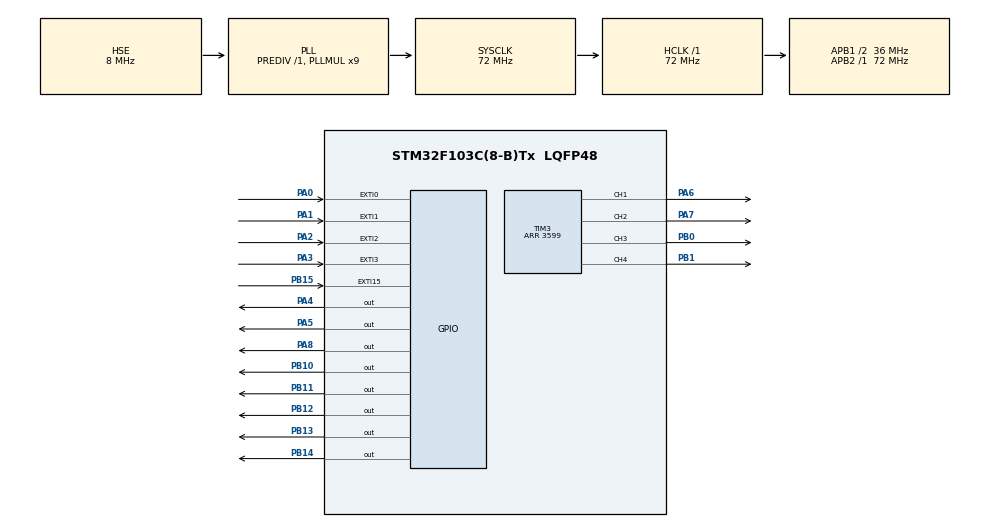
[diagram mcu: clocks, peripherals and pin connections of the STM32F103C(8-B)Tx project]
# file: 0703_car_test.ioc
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Mcu.Family=STM32F1
Mcu.Name=STM32F103C(8-B)Tx
Mcu.Package=LQFP48
NVIC.EXTI0_IRQn=true\:0\:0\:false\:false\:true\:true\:true\:true
NVIC.EXTI1_IRQn=true\:0\:0\:false\:false\:true\:true\:true\:true
NVIC.EXTI2_IRQn=true\:0\:0\:false\:false\:true\:true\:true\:true
NVIC.EXTI3_IRQn=true\:0\:0\:false\:false\:true\:true\:true\:true
NVIC.PriorityGroup=NVIC_PRIORITYGROUP_4
PA0-WKUP.GPIO_ModeDefaultEXTI=GPIO_MODE_IT_RISING_FALLING
PA0-WKUP.Signal=GPXTI0
PA1.GPIO_ModeDefaultEXTI=GPIO_MODE_IT_RISING_FALLING
PA1.Signal=GPXTI1
PA13.Mode=Serial_Wire
PA13.Signal=SYS_JTMS-SWDIO
PA14.Mode=Serial_Wire
PA14.Signal=SYS_JTCK-SWCLK
PA2.GPIO_ModeDefaultEXTI=GPIO_MODE_IT_RISING_FALLING
PA2.Signal=GPXTI2
PA3.GPIO_ModeDefaultEXTI=GPIO_MODE_IT_RISING_FALLING
PA3.Signal=GPXTI3
PA4.Signal=GPIO_Output
PA5.Signal=GPIO_Output
PA6.Signal=S_TIM3_CH1
PA7.Signal=S_TIM3_CH2
PA8.Signal=GPIO_Output
PB0.Signal=S_TIM3_CH3
PB1.Signal=S_TIM3_CH4
PB10.Signal=GPIO_Output
PB11.Signal=GPIO_Output
PB12.Signal=GPIO_Output
PB13.Signal=GPIO_Output
PB14.Signal=GPIO_Output
PB15.Signal=GPXTI15
PD0-OSC_IN.Mode=HSE-External-Oscillator
PD0-OSC_IN.Signal=RCC_OSC_IN
PD1-OSC_OUT.Mode=HSE-External-Oscillator
PD1-OSC_OUT.Signal=RCC_OSC_OUT
ProjectManager.HeapSize=0x200
ProjectManager.StackSize=0x400
ProjectManager.TargetToolchain=STM32CubeIDE
RCC.AHBFreq_Value=72000000
RCC.APB1CLKDivider=RCC_HCLK_DIV2
RCC.APB1Freq_Value=36000000
RCC.APB1TimFreq_Value=72000000
RCC.APB2Freq_Value=72000000
RCC.APB2TimFreq_Value=72000000
RCC.HCLKFreq_Value=72000000
RCC.PLLMUL=RCC_PLL_MUL9
RCC.PLLSourceVirtual=RCC_PLLSOURCE_HSE
RCC.SYSCLKFreq_VALUE=72000000
RCC.SYSCLKSource=RCC_SYSCLKSOURCE_PLLCLK
RCC.USBFreq_Value=72000000
SH.S_TIM3_CH1.0=TIM3_CH1,PWM Generation1 CH1
SH.S_TIM3_CH2.0=TIM3_CH2,PWM Generation2 CH2
SH.S_TIM3_CH3.0=TIM3_CH3,PWM Generation3 CH3
SH.S_TIM3_CH4.0=TIM3_CH4,PWM Generation4 CH4
TIM2.Prescaler=71
TIM3.Channel-PWM\ Generation1\ CH1=TIM_CHANNEL_1
TIM3.Channel-PWM\ Generation2\ CH2=TIM_CHANNEL_2
TIM3.Channel-PWM\ Generation3\ CH3=TIM_CHANNEL_3
TIM3.Channel-PWM\ Generation4\ CH4=TIM_CHANNEL_4
TIM3.Period=3599
VP_TIM2_VS_ClockSourceINT.Mode=Internal
board=custom

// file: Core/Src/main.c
/* USER CODE BEGIN Header */
/**
  ******************************************************************************
  * @file           : main.c
  * @brief          : Main program body
  ******************************************************************************
  * @attention
  *
  * Copyright (c) 2026 STMicroelectronics.
  * All rights reserved.
  *
  * This software is licensed under terms that can be found in the LICENSE file
  * in the root directory of this software component.
  * If no LICENSE file comes with this software, it is provided AS-IS.
  *
  ******************************************************************************
  */
/* USER CODE END Header */
#include "main.h"

/* USER CODE BEGIN Includes */
#include <stdint.h>
/* USER CODE END Includes */

TIM_HandleTypeDef htim2;
TIM_HandleTypeDef htim3;

/* USER CODE BEGIN PV */

#define PWM_MAX 3599

//遥控器相关参数
#define RC_CH_COUNT 4 //遥控器通道数量
#define RC_MID_US 1500 //居中时遥控器输出的PWM信号的高电平宽度，单位us
#define RC_RANGE_US 500 //1500+-500是正常的范围
#define RC_MIN_VALID_US 900
#define RC_MAX_VALID_US 2100 //<900或者>2100的高电平信号视为噪声
#define RC_FAILSAFE_MS 120  //超过120ms没有收到有效遥控信号则停车；这叫作failsafe

// 默认：CH1 转向，CH2 油门
// 如果你用 CH3 当油门，把 THROTTLE_CH 改成 2
#define STEERING_CH 0
#define THROTTLE_CH 1

#define DEADBAND 0.06f // <6%的摇杆偏移视作0
#define EXPO_A 0.45f
#define MAX_SPEED 0.99f //调节最大速度（1.0为最大速度）
#define SLEW_STEP 0.015f //变化率限制，速度每一轮循环最多变化多少，避免电机极大的加速度
#define MIN_EFFECTIVE_CMD 0.12f //最小的有效占空比（占空比太小有可能推不动电机）

// region 不同接线下的方向调试
#define THROTTLE_REVERSE 0
#define STEERING_REVERSE 0

#define FL_REVERSE 1
#define RL_REVERSE 0
#define FR_REVERSE 0
#define RR_REVERSE 0
//endregion

//rc_us: 保存四个遥控通道的脉宽
//注意volatile的使用，此变量可能在主循环之外被修改，例如在中断函数修改，因此需要告诉编译器不要对这个变量进行优化
//对于rc_us: 会在EXT1中断回调里更新，主循环中只作读取
volatile uint16_t rc_us[RC_CH_COUNT] = {
  RC_MID_US, RC_MID_US, RC_MID_US, RC_MID_US
};

//记录每一个通道上升沿的时间
volatile uint16_t rc_start[RC_CH_COUNT] = {0, 0, 0, 0};
//记录每一个通道最后一次收到有效信号的时间，用于failsafe
volatile uint32_t rc_last_ms[RC_CH_COUNT] = {0, 0, 0, 0};

//debug
volatile uint32_t rc_edge_count[RC_CH_COUNT] = {0,0,0,0}; //查看终端出发的数量
volatile uint16_t rc_raw_width[RC_CH_COUNT] = {0,0,0,0}; //查看测出来的原始脉宽是多少

//static关键字：其他文件不能通过extern访问
static float left_now = 0.0f; //当前左轮的速度
static float right_now = 0.0f;

/* USER CODE END PV */

void SystemClock_Config(void);
static void MX_GPIO_Init(void);
static void MX_TIM2_Init(void);
static void MX_TIM3_Init(void);
/* USER CODE BEGIN PFP */

//数学处理部分
static float abs_f(float x);
static float clamp_f(float x, float min_v, float max_v);
//遥控器输入处理
static float rc_to_norm(uint16_t pulse_us);
static float apply_deadband(float x);
static float apply_expo(float x);
static float apply_reverse(float x, int reverse);
static float slew_limit(float target, float current, float step);
//电机输出控制
static void motor_set(float cmd,
                      GPIO_TypeDef *in1_port, uint16_t in1_pin,
                      GPIO_TypeDef *in2_port, uint16_t in2_pin,
                      uint32_t pwm_channel,
                      int reverse);

static void motors_set(float left, float right);
static void motors_stop(void);
//遥控器中断测量
static void rc_update_from_exti(uint8_t ch_index,
                                GPIO_TypeDef *port,
                                uint16_t pin);

/* USER CODE END PFP */

int main(void)
{

  /* MCU Configuration--------------------------------------------------------*/

  /* Reset of all peripherals, Initializes the Flash interface and the Systick. */
  HAL_Init(); //HAL：Hardware Abstraction Layer,硬件抽象层

  /* Configure the system clock */
  SystemClock_Config(); //配置系统时钟

  /* Initialize all configured peripherals */
  MX_GPIO_Init(); //初始化GPIO，把在.ioc中设置的各个GPIO设置好为对应的
  MX_TIM2_Init();
  MX_TIM3_Init();
  /* USER CODE BEGIN 2 */

  HAL_TIM_Base_Start(&htim2); //启动TIM2的基础计数功能，TIM2开始按照指定的频率递增CNT寄存器

  //让TIM3开始输出PWM信号（占空比用的是在ioc中设置的初始值(Pulse)）
  HAL_TIM_PWM_Start(&htim3, TIM_CHANNEL_1);
  HAL_TIM_PWM_Start(&htim3, TIM_CHANNEL_2);
  HAL_TIM_PWM_Start(&htim3, TIM_CHANNEL_3);
  HAL_TIM_PWM_Start(&htim3, TIM_CHANNEL_4);

  // 两个 TB6612FNG 的 STBY 都接 PA8
  HAL_GPIO_WritePin(GPIOA, GPIO_PIN_8, GPIO_PIN_SET);

  motors_stop();

  /* USER CODE END 2 */

  /* Infinite loop */
  /* USER CODE BEGIN WHILE */
  while (1)
  {
    uint16_t throttle_us, steering_us;
    uint32_t throttle_last, steering_last;
    uint32_t now_ms = HAL_GetTick();  //得到当前时间；HAL_GetTick()的返回值，表示初始化完成以来，经过了多少毫秒

    //因为rc_us和rc_last_ms在中断时更新，为了避免主循环在读取时被中断打断，先关闭中断再读取这些数据
    __disable_irq(); //关闭中断
    throttle_us = rc_us[THROTTLE_CH];
    steering_us = rc_us[STEERING_CH];
    throttle_last = rc_last_ms[THROTTLE_CH];
    steering_last = rc_last_ms[STEERING_CH];
    __enable_irq(); //打开中断

    //失控保护
    if ((now_ms - throttle_last > RC_FAILSAFE_MS) ||
        (now_ms - steering_last > RC_FAILSAFE_MS))
    {
    	//一旦一段时间内没有收到遥控器的信号，则停车，但不退出主循环
      left_now = 0.0f;
      right_now = 0.0f;
      motors_stop();
      HAL_Delay(10);
      continue;
    }

    //遥控器脉冲宽度的处理
    float throttle = rc_to_norm(throttle_us);
    float steering = rc_to_norm(steering_us);

    throttle = apply_reverse(throttle, THROTTLE_REVERSE);
    steering = apply_reverse(steering, STEERING_REVERSE);

    throttle = apply_deadband(throttle);
    steering = apply_deadband(steering);

    throttle = apply_expo(throttle);
    steering = apply_expo(steering);

    float left_target = throttle + steering;
    float right_target = throttle - steering;

    //将left/right_target限制在-1~1内
    float max_mag = abs_f(left_target);
    if (abs_f(right_target) > max_mag)
    {
      max_mag = abs_f(right_target);
    }

    if (max_mag < 1.0f)
    {
      max_mag = 1.0f;
    }

    left_target /= max_mag;
    right_target /= max_mag;

    left_target *= MAX_SPEED;
    right_target *= MAX_SPEED;

    //限制速度的变化率
    left_now = slew_limit(left_target, left_now, SLEW_STEP);
    right_now = slew_limit(right_target, right_now, SLEW_STEP);

    //将信号输出到电机
    motors_set(left_now, right_now);

    //每轮结束后阻塞10ms
    HAL_Delay(10);
  }
  /* USER CODE END 3 */
}

void SystemClock_Config(void)
{
  RCC_OscInitTypeDef RCC_OscInitStruct = {0};
  RCC_ClkInitTypeDef RCC_ClkInitStruct = {0};

  /** Initializes the RCC Oscillators according to the specified parameters
  * in the RCC_OscInitTypeDef structure.
  */
  RCC_OscInitStruct.OscillatorType = RCC_OSCILLATORTYPE_HSE;
  RCC_OscInitStruct.HSEState = RCC_HSE_ON;
  RCC_OscInitStruct.HSEPredivValue = RCC_HSE_PREDIV_DIV1;
  RCC_OscInitStruct.HSIState = RCC_HSI_ON;
  RCC_OscInitStruct.PLL.PLLState = RCC_PLL_ON;
  RCC_OscInitStruct.PLL.PLLSource = RCC_PLLSOURCE_HSE;
  RCC_OscInitStruct.PLL.PLLMUL = RCC_PLL_MUL9;
  if (HAL_RCC_OscConfig(&RCC_OscInitStruct) != HAL_OK)
  {
    Error_Handler();
  }

  /** Initializes the CPU, AHB and APB buses clocks
  */
  RCC_ClkInitStruct.ClockType = RCC_CLOCKTYPE_HCLK|RCC_CLOCKTYPE_SYSCLK
                              |RCC_CLOCKTYPE_PCLK1|RCC_CLOCKTYPE_PCLK2;
  RCC_ClkInitStruct.SYSCLKSource = RCC_SYSCLKSOURCE_PLLCLK;
  RCC_ClkInitStruct.AHBCLKDivider = RCC_SYSCLK_DIV1;
  RCC_ClkInitStruct.APB1CLKDivider = RCC_HCLK_DIV2;
  RCC_ClkInitStruct.APB2CLKDivider = RCC_HCLK_DIV1;

  if (HAL_RCC_ClockConfig(&RCC_ClkInitStruct, FLASH_LATENCY_2) != HAL_OK)
  {
    Error_Handler();
  }
}

static void MX_TIM2_Init(void)
{

  TIM_ClockConfigTypeDef sClockSourceConfig = {0};
  TIM_MasterConfigTypeDef sMasterConfig = {0};

  htim2.Instance = TIM2;
  htim2.Init.Prescaler = 71;
  htim2.Init.CounterMode = TIM_COUNTERMODE_UP;
  htim2.Init.Period = 65535;
  htim2.Init.ClockDivision = TIM_CLOCKDIVISION_DIV1;
  htim2.Init.AutoReloadPreload = TIM_AUTORELOAD_PRELOAD_DISABLE;
  if (HAL_TIM_Base_Init(&htim2) != HAL_OK)
  {
    Error_Handler();
  }
  sClockSourceConfig.ClockSource = TIM_CLOCKSOURCE_INTERNAL;
  if (HAL_TIM_ConfigClockSource(&htim2, &sClockSourceConfig) != HAL_OK)
  {
    Error_Handler();
  }
  sMasterConfig.MasterOutputTrigger = TIM_TRGO_RESET;
  sMasterConfig.MasterSlaveMode = TIM_MASTERSLAVEMODE_DISABLE;
  if (HAL_TIMEx_MasterConfigSynchronization(&htim2, &sMasterConfig) != HAL_OK)
  {
    Error_Handler();
  }

}

static void MX_TIM3_Init(void)
{

  TIM_MasterConfigTypeDef sMasterConfig = {0};
  TIM_OC_InitTypeDef sConfigOC = {0};

  htim3.Instance = TIM3;
  htim3.Init.Prescaler = 0;
  htim3.Init.CounterMode = TIM_COUNTERMODE_UP;
  htim3.Init.Period = 3599;
  htim3.Init.ClockDivision = TIM_CLOCKDIVISION_DIV1;
  htim3.Init.AutoReloadPreload = TIM_AUTORELOAD_PRELOAD_DISABLE;
  if (HAL_TIM_PWM_Init(&htim3) != HAL_OK)
  {
    Error_Handler();
  }
  sMasterConfig.MasterOutputTrigger = TIM_TRGO_RESET;
  sMasterConfig.MasterSlaveMode = TIM_MASTERSLAVEMODE_DISABLE;
  if (HAL_TIMEx_MasterConfigSynchronization(&htim3, &sMasterConfig) != HAL_OK)
  {
    Error_Handler();
  }
  sConfigOC.OCMode = TIM_OCMODE_PWM1;
  sConfigOC.Pulse = 0;
  sConfigOC.OCPolarity = TIM_OCPOLARITY_HIGH;
  sConfigOC.OCFastMode = TIM_OCFAST_DISABLE;
  if (HAL_TIM_PWM_ConfigChannel(&htim3, &sConfigOC, TIM_CHANNEL_1) != HAL_OK)
  {
    Error_Handler();
  }
  if (HAL_TIM_PWM_ConfigChannel(&htim3, &sConfigOC, TIM_CHANNEL_2) != HAL_OK)
  {
    Error_Handler();
  }
  if (HAL_TIM_PWM_ConfigChannel(&htim3, &sConfigOC, TIM_CHANNEL_3) != HAL_OK)
  {
    Error_Handler();
  }
  if (HAL_TIM_PWM_ConfigChannel(&htim3, &sConfigOC, TIM_CHANNEL_4) != HAL_OK)
  {
    Error_Handler();
  }
  HAL_TIM_MspPostInit(&htim3);

}

static void MX_GPIO_Init(void)
{
  GPIO_InitTypeDef GPIO_InitStruct = {0};

  /* GPIO Ports Clock Enable */
  __HAL_RCC_GPIOD_CLK_ENABLE();
  __HAL_RCC_GPIOA_CLK_ENABLE();
  __HAL_RCC_GPIOB_CLK_ENABLE();

  /*Configure GPIO pin Output Level */
  HAL_GPIO_WritePin(GPIOA, GPIO_PIN_4|GPIO_PIN_5|GPIO_PIN_8, GPIO_PIN_RESET);

  /*Configure GPIO pin Output Level */
  HAL_GPIO_WritePin(GPIOB, GPIO_PIN_10|GPIO_PIN_11|GPIO_PIN_12|GPIO_PIN_13
                          |GPIO_PIN_14|GPIO_PIN_15, GPIO_PIN_RESET);

  //遥控器的输入
  /*Configure GPIO pins : PA0 PA1 PA2 PA3 */
  GPIO_InitStruct.Pin = GPIO_PIN_0|GPIO_PIN_1|GPIO_PIN_2|GPIO_PIN_3;
  GPIO_InitStruct.Mode = GPIO_MODE_IT_RISING_FALLING; //外部中断输入；并且时上升沿和下降沿都会触发
  GPIO_InitStruct.Pull = GPIO_NOPULL;
  HAL_GPIO_Init(GPIOA, &GPIO_InitStruct);

  /*Configure GPIO pins : PA4 PA5 PA8 */
  GPIO_InitStruct.Pin = GPIO_PIN_4|GPIO_PIN_5|GPIO_PIN_8;
  GPIO_InitStruct.Mode = GPIO_MODE_OUTPUT_PP; //推挽输出
  GPIO_InitStruct.Pull = GPIO_NOPULL;
  GPIO_InitStruct.Speed = GPIO_SPEED_FREQ_LOW;
  HAL_GPIO_Init(GPIOA, &GPIO_InitStruct);

  /*Configure GPIO pins : PB10 PB11 PB12 PB13
                           PB14 PB15*/
  GPIO_InitStruct.Pin = GPIO_PIN_10|GPIO_PIN_11|GPIO_PIN_12|GPIO_PIN_13
                          |GPIO_PIN_14|GPIO_PIN_15;
  GPIO_InitStruct.Mode = GPIO_MODE_OUTPUT_PP;
  GPIO_InitStruct.Pull = GPIO_NOPULL;
  GPIO_InitStruct.Speed = GPIO_SPEED_FREQ_LOW;
  HAL_GPIO_Init(GPIOB, &GPIO_InitStruct);

  /* EXTI interrupt init*/
  HAL_NVIC_SetPriority(EXTI0_IRQn, 0, 0);
  HAL_NVIC_EnableIRQ(EXTI0_IRQn);

  HAL_NVIC_SetPriority(EXTI1_IRQn, 0, 0);
  HAL_NVIC_EnableIRQ(EXTI1_IRQn);

  HAL_NVIC_SetPriority(EXTI2_IRQn, 0, 0);
  HAL_NVIC_EnableIRQ(EXTI2_IRQn);

  HAL_NVIC_SetPriority(EXTI3_IRQn, 0, 0);
  HAL_NVIC_EnableIRQ(EXTI3_IRQn);

}

/* USER CODE BEGIN 4 */

static float abs_f(float x)
{
  return x >= 0.0f ? x : -x;
}

static float clamp_f(float x, float min_v, float max_v)
{
  if (x < min_v) return min_v;
  if (x > max_v) return max_v;
  return x;
}

static float rc_to_norm(uint16_t pulse_us)
{
  float x = ((float)pulse_us - (float)RC_MID_US) / (float)RC_RANGE_US;
  return clamp_f(x, -1.0f, 1.0f);
}

static float apply_deadband(float x)
{
  if (abs_f(x) < DEADBAND)
  {
    return 0.0f;
  }

  if (x > 0.0f)
  {
    return (x - DEADBAND) / (1.0f - DEADBAND);
  }
  else
  {
    return (x + DEADBAND) / (1.0f - DEADBAND);
  }
}

static float apply_expo(float x)
{
  return EXPO_A * x * x * x + (1.0f - EXPO_A) * x;
}

static float apply_reverse(float x, int reverse)
{
  return reverse ? -x : x;
}

static float slew_limit(float target, float current, float step)
{
  if (target > current + step)
  {
    return current + step;
  }
  else if (target < current - step)
  {
    return current - step;
  }
  else
  {
    return target;
  }
}

static void motor_set(float cmd,
                      GPIO_TypeDef *in1_port, uint16_t in1_pin,
                      GPIO_TypeDef *in2_port, uint16_t in2_pin,
                      uint32_t pwm_channel,
                      int reverse)
{
  if (reverse)
  {
    cmd = -cmd;
  }

  cmd = clamp_f(cmd, -1.0f, 1.0f);

  if (abs_f(cmd) < 0.001f)
  {
    HAL_GPIO_WritePin(in1_port, in1_pin, GPIO_PIN_RESET);
    HAL_GPIO_WritePin(in2_port, in2_pin, GPIO_PIN_RESET);
    __HAL_TIM_SET_COMPARE(&htim3, pwm_channel, 0);
    return;
  }

  float mag = abs_f(cmd);

  mag = MIN_EFFECTIVE_CMD + mag * (1.0f - MIN_EFFECTIVE_CMD);
  if (mag > 1.0f)
  {
    mag = 1.0f;
  }

  uint16_t duty = (uint16_t)(mag * PWM_MAX + 0.5f);

  if (cmd > 0.0f)
  {
    HAL_GPIO_WritePin(in1_port, in1_pin, GPIO_PIN_SET);
    HAL_GPIO_WritePin(in2_port, in2_pin, GPIO_PIN_RESET);
  }
  else
  {
    HAL_GPIO_WritePin(in1_port, in1_pin, GPIO_PIN_RESET);
    HAL_GPIO_WritePin(in2_port, in2_pin, GPIO_PIN_SET);
  }

  __HAL_TIM_SET_COMPARE(&htim3, pwm_channel, duty);
}

static void motors_set(float left, float right)
{
  // 左前：PA6 PWM, PB10/PB11 方向
  motor_set(left,
            GPIOB, GPIO_PIN_10,
            GPIOB, GPIO_PIN_11,
            TIM_CHANNEL_1,
            FL_REVERSE);

  // 左后：PA7 PWM, PB12/PB13 方向
  motor_set(left,
            GPIOB, GPIO_PIN_12,
            GPIOB, GPIO_PIN_13,
            TIM_CHANNEL_2,
            RL_REVERSE);

  // 右前：PB0 PWM, PB14/PB15 方向
  motor_set(right,
            GPIOB, GPIO_PIN_14,
            GPIOB, GPIO_PIN_15,
            TIM_CHANNEL_3,
            FR_REVERSE);

  // 右后：PB1 PWM, PA4/PA5 方向
  motor_set(right,
            GPIOA, GPIO_PIN_4,
            GPIOA, GPIO_PIN_5,
            TIM_CHANNEL_4,
            RR_REVERSE);
}

static void motors_stop(void)
{
  HAL_GPIO_WritePin(GPIOB, GPIO_PIN_10, GPIO_PIN_RESET);
  HAL_GPIO_WritePin(GPIOB, GPIO_PIN_11, GPIO_PIN_RESET);
  HAL_GPIO_WritePin(GPIOB, GPIO_PIN_12, GPIO_PIN_RESET);
  HAL_GPIO_WritePin(GPIOB, GPIO_PIN_13, GPIO_PIN_RESET);
  HAL_GPIO_WritePin(GPIOB, GPIO_PIN_14, GPIO_PIN_RESET);
  HAL_GPIO_WritePin(GPIOB, GPIO_PIN_15, GPIO_PIN_RESET);
  HAL_GPIO_WritePin(GPIOA, GPIO_PIN_4, GPIO_PIN_RESET);
  HAL_GPIO_WritePin(GPIOA, GPIO_PIN_5, GPIO_PIN_RESET);

  __HAL_TIM_SET_COMPARE(&htim3, TIM_CHANNEL_1, 0);
  __HAL_TIM_SET_COMPARE(&htim3, TIM_CHANNEL_2, 0);
  __HAL_TIM_SET_COMPARE(&htim3, TIM_CHANNEL_3, 0);
  __HAL_TIM_SET_COMPARE(&htim3, TIM_CHANNEL_4, 0);
}

static void rc_update_from_exti(uint8_t ch_index,
                                GPIO_TypeDef *port,
                                uint16_t pin)
{
	//刚刚来了一个GPIO的中断输入，然后进入这个函数
  if (ch_index >= RC_CH_COUNT)
  {
    return;
  }

  //debug：每次调用rc_update_from_exti的时候，应该是一个上升沿或者下降沿来临的时候
  	rc_edge_count[ch_index]++;//更新边沿数量；

  uint16_t now = (uint16_t)__HAL_TIM_GET_COUNTER(&htim2);

  if (HAL_GPIO_ReadPin(port, pin) == GPIO_PIN_SET) //现在这个port是高电平，说明刚刚来的是一个上升沿
  {
    rc_start[ch_index] = now; //记录上升沿开始的时间
  }
  else //刚刚来的是一个下降沿
  {
    uint16_t width = (uint16_t)(now - rc_start[ch_index]); //统计上一个高电平脉冲宽度

    //debug
    rc_raw_width[ch_index] = width;

    if (width >= RC_MIN_VALID_US && width <= RC_MAX_VALID_US) //得到了一个有效的高电平脉冲宽度
    {
      rc_us[ch_index] = width; //记录
      rc_last_ms[ch_index] = HAL_GetTick();
    }
  }
}

void HAL_GPIO_EXTI_Callback(uint16_t GPIO_Pin)
{
  if (GPIO_Pin == GPIO_PIN_0)
  {
    rc_update_from_exti(0, GPIOA, GPIO_PIN_0);
  }
  else if (GPIO_Pin == GPIO_PIN_1)
  {
    rc_update_from_exti(1, GPIOA, GPIO_PIN_1);
  }
  else if (GPIO_Pin == GPIO_PIN_2)
  {
    rc_update_from_exti(2, GPIOA, GPIO_PIN_2);
  }
  else if (GPIO_Pin == GPIO_PIN_3)
  {
    rc_update_from_exti(3, GPIOA, GPIO_PIN_3);
  }
}

/* USER CODE END 4 */

void Error_Handler(void)
{
  __disable_irq();
  while (1)
  {
  }
}
